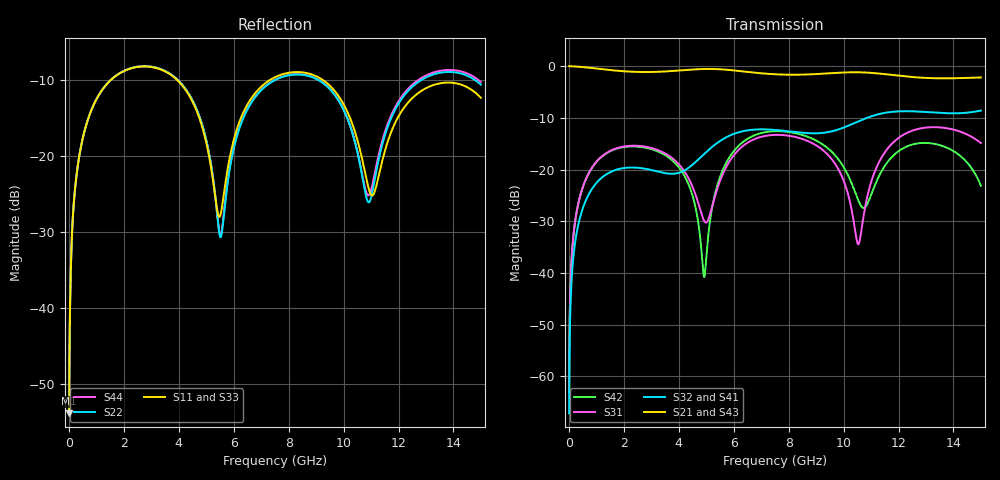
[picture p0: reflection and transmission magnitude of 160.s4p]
! Created with skrf 1.8.0 (http://scikit-rf.org).
# GHz S RI R 50.0
!freq ReS11 ImS11 ReS12 ImS12 ReS13 ImS13
! ReS14 ImS14
! ReS21 ImS21 ReS22 ImS22 ReS23 ImS23
! ReS24 ImS24
! ReS31 ImS31 ReS32 ImS32 ReS33 ImS33
! ReS34 ImS34
! ReS41 ImS41 ReS42 ImS42 ReS43 ImS43
! ReS44 ImS44
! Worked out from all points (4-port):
!   2499 points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, 5 MHz to 15 GHz, reference 50 ohm
!   strongest paths, dB at 5 MHz, 3.476 GHz, 7.19 GHz, 11.1 GHz, 15 GHz:
!     S21: 0.0, -1.0, -1.5, -1.3, -2.2
!     S43: 0.0, -1.0, -1.5, -1.3, -2.2
!     S32: -67.1, -20.7, -12.2, -9.6, -8.6
!     S41: -67.1, -20.7, -12.3, -9.6, -8.6
!     S31: -63.0, -16.8, -13.5, -20.9, -14.9
!     S42: -63.0, -17.1, -12.7, -23.6, -23.1
!   lowest |S11| = -53.8 dB at 5 MHz (marker M1), VSWR 1.00, Z = 50.2 + j0.123 ohm
!   |S11| at or under -10 dB: start of sweep to 1.53 GHz; 3.935 GHz to 7.324 GHz (3.389 GHz wide, 60.2 % of centre); 9.239 GHz to end of sweep
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0.005  0.00163 0.00123  0.9983 -0.00317  8.39e-05 0.000703  -8.11e-05 -0.000432
       0.9983 -0.00317  0.00163 0.00123  -8.11e-05 -0.000432  8.38e-05 0.000703
       8.39e-05 0.000703  -8.11e-05 -0.000432  0.00163 0.00123  0.9983 -0.00317
       -8.11e-05 -0.000432  8.38e-05 0.000703  0.9983 -0.00317  0.00163 0.00123
0.3126303  0.0238 0.081  0.9674 -0.1975  0.0119 0.0417  -0.0097 -0.0254
           0.9674 -0.1975  0.0239 0.081  -0.0097 -0.0254  0.0116 0.0418
           0.0119 0.0417  -0.0097 -0.0254  0.0238 0.081  0.9674 -0.1975
           -0.0097 -0.0254  0.0116 0.0418  0.9674 -0.1975  0.0239 0.081
1.569404  0.2689 0.1753  0.5463 -0.7301  0.1407 0.0639  -0.0959 -0.00552
          0.5463 -0.7301  0.2705 0.1742  -0.096 -0.00545  0.136 0.0702
          0.1407 0.0639  -0.096 -0.00545  0.2688 0.1753  0.5463 -0.7301
          -0.0959 -0.00552  0.136 0.0702  0.5463 -0.7301  0.2705 0.1742
4.9208  0.0763 -0.1174  -0.8544 -0.3856  -0.0274 -0.0164  -0.054 0.1305
        -0.8544 -0.3856  0.0691 -0.1273  -0.0533 0.1308  0.00898 0.00166
        -0.0274 -0.0164  -0.0533 0.1308  0.0756 -0.1173  -0.8545 -0.3855
        -0.054 0.1305  0.00898 0.00166  -0.8545 -0.3855  0.0696 -0.1268
8.6411  0.3448 -0.0661  0.0308 0.8286  0.178 -0.0698  0.2081 -0.0842
        0.0308 0.8286  0.334 -0.0537  0.208 -0.0867  0.1781 -0.1109
        0.178 -0.0698  0.208 -0.0867  0.3447 -0.0656  0.0308 0.8284
        0.2081 -0.0842  0.1781 -0.1109  0.0308 0.8284  0.3351 -0.0542
10.53564  0.0764 -0.0942  0.7783 0.392  0.0189 -0.000435  0.1233 -0.2649
          0.7783 0.392  0.0684 -0.0728  0.1209 -0.2661  -0.0405 -0.0301
          0.0189 -0.000435  0.1209 -0.2661  0.0717 -0.0948  0.7785 0.3916
          0.1233 -0.2649  -0.0405 -0.0301  0.7785 0.3916  0.0721 -0.0701
15  0.2252 -0.0859  -0.297 -0.7173  0.00715 -0.1803  -0.3314 0.1634
    -0.297 -0.7173  0.2627 -0.1323  -0.3289 0.1736  0.0303 -0.0627
    0.00715 -0.1803  -0.3289 0.1736  0.2405 -0.0708  -0.2935 -0.7152
    -0.3314 0.1634  0.0303 -0.0627  -0.2935 -0.7152  0.2654 -0.1521
